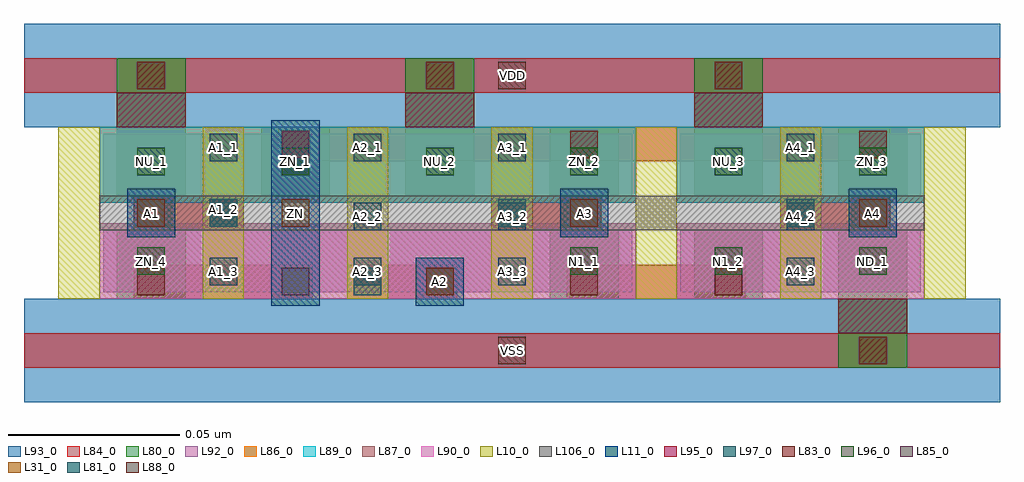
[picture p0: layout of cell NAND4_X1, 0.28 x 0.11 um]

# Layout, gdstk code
import gdstk
lib = gdstk.Library(unit=1e-6, precision=1e-09)
def R(c, l, rs):  # rectangles x0, y0, x1, y1
    for r in rs: c.add(gdstk.rectangle(r[:2], r[2:], *l))
def A(c, l, x, y, w, h, nx, ny, dx, dy):  # array of equal rectangles
    R(c, l, [(x+i*dx, y+j*dy, x+i*dx+w, y+j*dy+h) for i in range(nx) for j in range(ny)])
L10_0 = (10, 0)
L11_0 = (11, 0)
L31_0 = (31, 0)
L80_0 = (80, 0)
L81_0 = (81, 0)
L83_0 = (83, 0)
L84_0 = (84, 0)
L85_0 = (85, 0)
L86_0 = (86, 0)
L87_0 = (87, 0)
L88_0 = (88, 0)
L89_0 = (89, 0)
L90_0 = (90, 0)
L92_0 = (92, 0)
L93_0 = (93, 0)
L95_0 = (95, 0)
L96_0 = (96, 0)
L97_0 = (97, 0)
L106_0 = (106, 0)

nand4_x1 = lib.new_cell('NAND4_X1')
A(nand4_x1, L10_0, -0.027, 0.015, 0.012, 0.05, 7, 1, 0.042, 0)
R(nand4_x1, L11_0, [(0.035,0.013,0.049,0.047), (0.077,0.013,0.091,0.027), (-0.007,0.033,0.007,0.047), (0.035,0.033,0.049,0.067), (0.119,0.033,0.133,0.047), (0.203,0.033,0.217,0.047)])
A(nand4_x1, L31_0, 0.038, 0.036, 0.008, 0.008, 3, 1, 0.084, 0)
R(nand4_x1, L31_0, [(0.08,0.016,0.088,0.024), (-0.004,0.036,0.004,0.044)])
A(nand4_x1, L80_0, 0.116, 0.015, 0.02, 0.02, 3, 1, 0.042, 0)
A(nand4_x1, L80_0, -0.01, 0.056, 0.02, 0.029, 3, 1, 0.084, 0)
R(nand4_x1, L80_0, [(0.2,-0.005,0.22,0.016), (-0.01,0.015,0.01,0.035), (-0.01,0.045,0.01,0.065), (-0.01,0.045,0.01,0.065), (0.032,0.045,0.052,0.065), (0.032,0.045,0.052,0.065), (0.074,0.045,0.094,0.065), (0.074,0.045,0.094,0.065), (0.116,0.045,0.136,0.065), (0.116,0.045,0.136,0.065), (0.158,0.045,0.178,0.065), (0.158,0.045,0.178,0.065), (0.2,0.045,0.22,0.065), (0.2,0.045,0.22,0.065)])
A(nand4_x1, L81_0, 0.017, 0.036, 0.008, 0.008, 3, 1, 0.084, 0)
R(nand4_x1, L81_0, [(0.059,0.016,0.067,0.024)])
A(nand4_x1, L83_0, 0.038, 0.056, 0.008, 0.008, 3, 1, 0.084, 0)
A(nand4_x1, L83_0, -0.004, 0.076, 0.008, 0.008, 3, 1, 0.084, 0)
R(nand4_x1, L83_0, [(0.206,-0.004,0.214,0.004), (-0.004,0.016,0.004,0.024), (0.122,0.016,0.13,0.024), (0.164,0.016,0.172,0.024)])
A(nand4_x1, L84_0, 0.037, 0.055, 0.031, 0.01, 8, 1, 0.021, 0)
R(nand4_x1, L84_0, [(-0.037,-0.005,0.247,0.005), (-0.005,0.015,0.026,0.025), (0.016,0.015,0.047,0.025), (0.057,0.015,0.089,0.025), (0.121,0.015,0.152,0.025), (0.142,0.015,0.173,0.025), (-0.005,0.035,0.027,0.045), (0.099,0.035,0.131,0.045), (0.183,0.035,0.215,0.045), (-0.037,0.075,0.247,0.085)])
R(nand4_x1, L85_0, [(0.038,0.016,0.046,0.024), (0.08,0.016,0.088,0.024), (-0.004,0.036,0.004,0.044), (0.122,0.036,0.13,0.044), (0.206,0.036,0.214,0.044), (0.038,0.056,0.046,0.064)])
R(nand4_x1, L86_0, [(-0.015,0.043,0.141,0.065), (0.153,0.043,0.225,0.065)])
R(nand4_x1, L87_0, [(-0.015,0.015,0.141,0.037), (0.153,0.015,0.225,0.037)])
R(nand4_x1, L88_0, [(0.101,-0.004,0.109,0.004), (0.101,0.076,0.109,0.084)])
R(nand4_x1, L89_0, [(-0.015,0.043,0.141,0.065), (0.153,0.043,0.225,0.065)])
R(nand4_x1, L90_0, [(-0.015,0.015,0.141,0.037), (0.153,0.015,0.225,0.037)])
R(nand4_x1, L92_0, [(-0.014,0.017,0.14,0.035), (0.154,0.017,0.224,0.035), (-0.014,0.045,0.14,0.063), (0.154,0.045,0.224,0.063)])
R(nand4_x1, L93_0, [(-0.037,-0.015,0.247,0.015), (-0.037,0.065,0.247,0.095)])
A(nand4_x1, L95_0, -0.01, 0.065, 0.02, 0.01, 3, 1, 0.084, 0)
R(nand4_x1, L95_0, [(0.2,0.005,0.22,0.015)])
A(nand4_x1, L96_0, 0.122, 0.022, 0.008, 0.008, 3, 1, 0.042, 0)
A(nand4_x1, L96_0, -0.004, 0.051, 0.008, 0.008, 6, 1, 0.042, 0)
R(nand4_x1, L96_0, [(-0.004,0.022,0.004,0.03)])
A(nand4_x1, L97_0, 0.017, 0.019, 0.008, 0.008, 3, 2, 0.042, 0.036)
R(nand4_x1, L97_0, [(0.185,0.019,0.193,0.027), (0.059,0.035,0.067,0.043), (0.101,0.035,0.109,0.043), (0.185,0.035,0.193,0.043), (0.017,0.036,0.025,0.044), (0.185,0.055,0.193,0.063)])
R(nand4_x1, L106_0, [(-0.015,0.035,0.225,0.045)])
nand4_x1.add(gdstk.Label('ZN_4', (0,0.026), layer=96, texttype=0))
nand4_x1.add(gdstk.Label('ND_1', (0.21,0.026), layer=96, texttype=0))
nand4_x1.add(gdstk.Label('N1_2', (0.168,0.026), layer=96, texttype=0))
nand4_x1.add(gdstk.Label('N1_1', (0.126,0.026), layer=96, texttype=0))
nand4_x1.add(gdstk.Label('ZN_2', (0.126,0.055), layer=96, texttype=0))
nand4_x1.add(gdstk.Label('NU_3', (0.168,0.055), layer=96, texttype=0))
nand4_x1.add(gdstk.Label('ZN_3', (0.21,0.055), layer=96, texttype=0))
nand4_x1.add(gdstk.Label('NU_2', (0.084,0.055), layer=96, texttype=0))
nand4_x1.add(gdstk.Label('ZN_1', (0.042,0.055), layer=96, texttype=0))
nand4_x1.add(gdstk.Label('NU_1', (0,0.055), layer=96, texttype=0))
nand4_x1.add(gdstk.Label('VDD', (0.105,0.08), layer=88, texttype=0))
nand4_x1.add(gdstk.Label('VSS', (0.105,0), layer=88, texttype=0))
nand4_x1.add(gdstk.Label('A4_2', (0.189,0.039), layer=97, texttype=0))
nand4_x1.add(gdstk.Label('A4_3', (0.189,0.023), layer=97, texttype=0))
nand4_x1.add(gdstk.Label('A4_1', (0.189,0.059), layer=97, texttype=0))
nand4_x1.add(gdstk.Label('A3_2', (0.105,0.039), layer=97, texttype=0))
nand4_x1.add(gdstk.Label('A3_3', (0.105,0.023), layer=97, texttype=0))
nand4_x1.add(gdstk.Label('A3_1', (0.105,0.059), layer=97, texttype=0))
nand4_x1.add(gdstk.Label('A2_1', (0.063,0.059), layer=97, texttype=0))
nand4_x1.add(gdstk.Label('A2_3', (0.063,0.023), layer=97, texttype=0))
nand4_x1.add(gdstk.Label('A2_2', (0.063,0.039), layer=97, texttype=0))
nand4_x1.add(gdstk.Label('A1_1', (0.021,0.059), layer=97, texttype=0))
nand4_x1.add(gdstk.Label('A1_3', (0.021,0.023), layer=97, texttype=0))
nand4_x1.add(gdstk.Label('A1_2', (0.021,0.041), layer=97, texttype=0))
nand4_x1.add(gdstk.Label('ZN', (0.042,0.04), layer=31, texttype=0))
nand4_x1.add(gdstk.Label('A4', (0.21,0.04), layer=31, texttype=0))
nand4_x1.add(gdstk.Label('A3', (0.126,0.04), layer=31, texttype=0))
nand4_x1.add(gdstk.Label('A2', (0.084,0.02), layer=31, texttype=0))
nand4_x1.add(gdstk.Label('A1', (0,0.04), layer=31, texttype=0))

lib.write_gds('NAND4_X1.gds')
